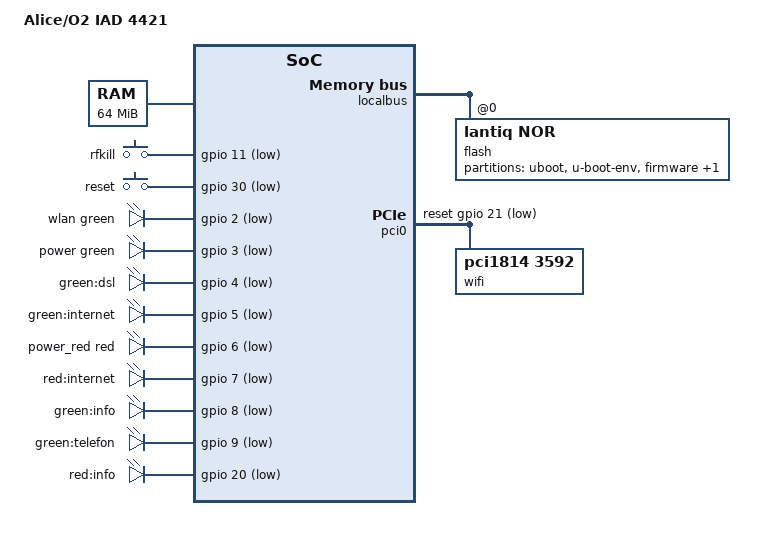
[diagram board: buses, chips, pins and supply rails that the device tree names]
#include "danube.dtsi"

#include <dt-bindings/input/input.h>
#include <dt-bindings/leds/common.h>

/ {
	compatible = "arcadyan,arv7506pw11", "lantiq,xway", "lantiq,danube";
	model = "Alice/O2 IAD 4421";

	chosen {
		bootargs = "console=ttyLTQ0,115200";
	};

	aliases {
		led-boot = &power;
		led-failsafe = &power_red;
		led-running = &power;
		led-upgrade = &power;

		led-dsl = &dsl;
		led-internet = &internet;
		led-wifi = &wlan;
	};

	memory@0 {
		device_type = "memory";
		reg = <0x0 0x4000000>;
	};

	keys {
		compatible = "gpio-keys-polled";
		poll-interval = <100>;

		rfkill {
			label = "rfkill";
			gpios = <&gpio 11 GPIO_ACTIVE_LOW>;
			linux,code = <KEY_RFKILL>;
		};
		reset {
			label = "reset";
			gpios = <&gpio 30 GPIO_ACTIVE_LOW>;
			linux,code = <KEY_RESTART>;
		};
	};

	leds {
		compatible = "gpio-leds";
		wlan: wlan {
			function = LED_FUNCTION_WLAN;
			color = <LED_COLOR_ID_GREEN>;
			gpios = <&gpio 2 GPIO_ACTIVE_LOW>;
		};
		power: power {
			function = LED_FUNCTION_POWER;
			color = <LED_COLOR_ID_GREEN>;
			gpios = <&gpio 3 GPIO_ACTIVE_LOW>;
			default-state = "keep";
		};
		dsl: dsl {
			label = "green:dsl";
			gpios = <&gpio 4 GPIO_ACTIVE_LOW>;
		};
		internet: internet {
			label = "green:internet";
			gpios = <&gpio 5 GPIO_ACTIVE_LOW>;
		};
		power_red: power_red {
			function = LED_FUNCTION_POWER;
			color = <LED_COLOR_ID_RED>;
			gpios = <&gpio 6 GPIO_ACTIVE_LOW>;
		};
		internet_red {
			label = "red:internet";
			gpios = <&gpio 7 GPIO_ACTIVE_LOW>;
		};
		info {
			label = "green:info";
			gpios = <&gpio 8 GPIO_ACTIVE_LOW>;
		};
		telefon {
			label = "green:telefon";
			gpios = <&gpio 9 GPIO_ACTIVE_LOW>;
		};
		info_red {
			label = "red:info";
			gpios = <&gpio 20 GPIO_ACTIVE_LOW>;
		};
	};
};

&gpio {
	pinctrl-names = "default";
	pinctrl-0 = <&state_default>;

	state_default: pinmux {
		pci_rst {
			lantiq,pins = "io21";
			lantiq,pull = <2>;
			lantiq,output = <1>;
		};
	};
};

/* GPIO 19: switch reset */
&gsw {
	phy-mode = "rmii";
	nvmem-cells = <&macaddr_boardconfig_16 0>;
	nvmem-cell-names = "mac-address";
};

&ppe {
	nvmem-cells = <&macaddr_boardconfig_16 2>;
	nvmem-cell-names = "mac-address";
};

&localbus {
	flash@0 {
		compatible = "lantiq,nor";
		bank-width = <2>;
		reg = <0 0x0 0x800000>;

		partitions {
			compatible = "fixed-partitions";
			#address-cells = <1>;
			#size-cells = <1>;

			partition@0 {
				label = "uboot";
				reg = <0x00000 0x40000>;
				read-only;
			};

			partition@40000 {
				label = "u-boot-env";
				reg = <0x40000 0x10000>;
				read-only;
			};

			partition@50000 {
				label = "firmware";
				reg = <0x50000 0x7a0000>;
			};

			boardconfig: partition@7f0000 {
				label = "board_config";
				reg = <0x7f0000 0x10000>;
				read-only;

				nvmem-layout {
					compatible = "fixed-layout";
					#address-cells = <1>;
					#size-cells = <1>;

					macaddr_boardconfig_16: macaddr@16 {
						compatible = "mac-base";
						reg = <0x16 0x6>;
						#nvmem-cell-cells = <1>;
					};

					eeprom_boardconfig_410: eeprom@410 {
						reg = <0x410 0x200>;
					};
				};
			};
		};
	};
};

&pci0 {
	status = "okay";

	pinctrl-0 = <&pci_gnt1_pins>, <&pci_req1_pins>;
	pinctrl-names = "default";

	lantiq,external-clock;
	reset-gpios = <&gpio 21 GPIO_ACTIVE_LOW>;

	wifi@e,0 {
		compatible = "pci1814,3592";
		reg = <0x7000 0 0 0 0>;
		nvmem-cells = <&eeprom_boardconfig_410>, <&macaddr_boardconfig_16 1>;
		nvmem-cell-names = "eeprom", "mac-address";
	};
};
